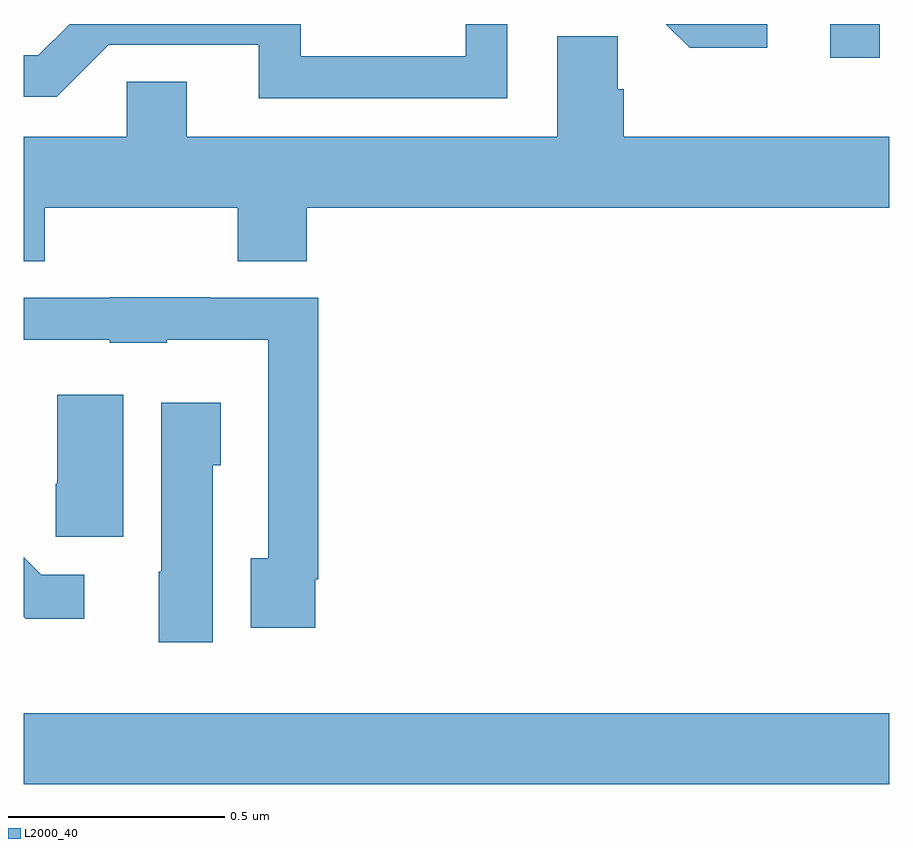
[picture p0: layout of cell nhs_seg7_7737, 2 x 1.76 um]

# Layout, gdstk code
import gdstk
lib = gdstk.Library(unit=1e-6, precision=1e-09)
def R(c, l, rs):  # rectangles x0, y0, x1, y1
    for r in rs: c.add(gdstk.rectangle(r[:2], r[2:], *l))
def P(c, l, *ps):  # polygons
    for p in ps: c.add(gdstk.Polygon(p, *l))
L2000_40 = (2000, 40)

nhs_seg7_7737 = lib.new_cell('nhs_seg7_7737')
R(nhs_seg7_7737, L2000_40, [(215,1039.244,217,1039.408), (216.863,1040.922,216.978,1041)])
P(nhs_seg7_7737, L2000_40, [(216.718,1041),(216.484,1041),(216.539,1040.945),(216.718,1040.945)],
  [(216.117,1041),(216.021,1041),(216.021,1040.925),(215.64,1040.925),(215.64,1041),(215.106,1041),(215.034,1040.928),(215,1040.928),(215,1040.832),(215.076,1040.832),(215.196,1040.952),(215.543,1040.952),(215.543,1040.829),(216.117,1040.829)],
  [(215.049,1040.576),(215.494,1040.576),(215.494,1040.452),(215.654,1040.452),(215.654,1040.576),(217,1040.576),(217,1040.74),(216.386,1040.74),(216.386,1040.849),(216.372,1040.849),(216.372,1040.972),(216.233,1040.972),(216.233,1040.74),(215.377,1040.74),(215.377,1040.867),(215.238,1040.867),(215.238,1040.74),(215,1040.74),(215,1040.452),(215.049,1040.452)],
  [(215.674,1039.717),(215.681,1039.717),(215.681,1040.367),(215.431,1040.367),(215.431,1040.369),(215.199,1040.369),(215.199,1040.367),(215,1040.367),(215,1040.271),(215.199,1040.271),(215.199,1040.264),(215.331,1040.264),(215.331,1040.27),(215.565,1040.27),(215.565,1039.766),(215.525,1039.766),(215.525,1039.605),(215.674,1039.605)],
  [(215.23,1040.143),(215.078,1040.143),(215.078,1039.938),(215.074,1039.938),(215.074,1039.815),(215.23,1039.815)],
  [(215.437,1039.98),(215.455,1039.98),(215.455,1040.125),(215.318,1040.125),(215.318,1039.734),(215.312,1039.734),(215.312,1039.572),(215.437,1039.572)],
  [(215.14,1039.728),(215.04,1039.728),(215,1039.768),(215,1039.631),(215.005,1039.626),(215.14,1039.626)])

lib.write_gds('nhs_seg7_7737.gds')
